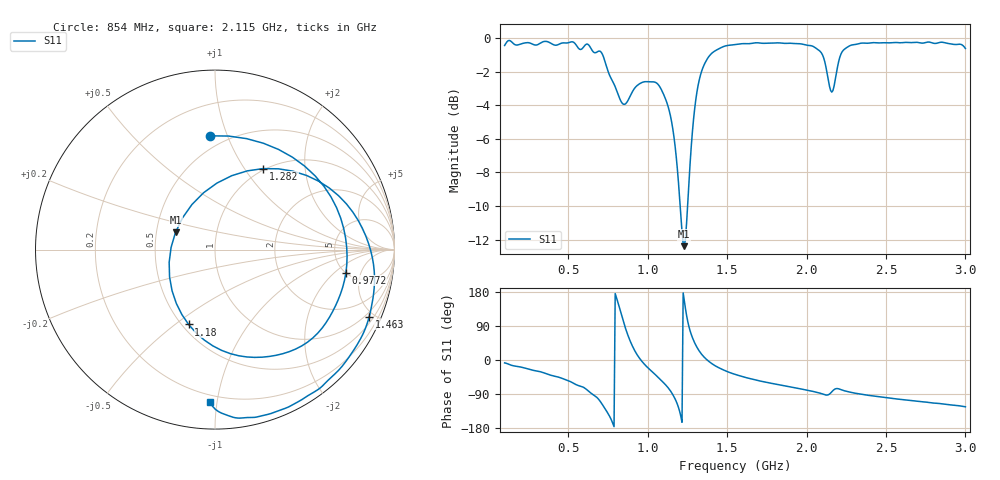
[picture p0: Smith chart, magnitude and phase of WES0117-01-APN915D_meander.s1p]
! openEMS-z2labs kicad_sim, WES0117-01-APN915D_meander.kicad_pcb
! ports: 1=SMA7 (F.Cu over B.Cu)
! stackup: file
! copper: sheet, mask: False
# Hz S RI R 50
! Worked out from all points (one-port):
!   401 points, 100 MHz to 3 GHz, reference 50 ohm
!   lowest |S11| = -12.4 dB at 1.231 GHz (marker M1), VSWR 1.63, Z = 31.5 + j6.42 ohm
!   |S11| at or under -10 dB: 1.205 GHz to 1.252 GHz (46.66 MHz wide, 3.8 % of centre)
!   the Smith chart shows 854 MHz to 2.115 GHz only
!   S11 on the Smith chart (normalised r, x): 854 MHz: 0.41, +0.87; 977.2 MHz: 5.04, -2.86; 1.18 GHz: 0.54, -0.56; 1.282 GHz: 0.98, +1.22; 1.463 GHz: 0.77, -4.69; 2.115 GHz: 0.16, -0.95
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1e8  0.9419 -0.1264
4.625e8  0.6397 -0.7248
6.0025e8  0.2758 -0.9039
7.0175e8  -0.3 -0.8626
7.38e8  -0.5617 -0.6147
7.815e8  -0.7238 -0.1575
8.0325e8  -0.6804 0.173
8.25e8  -0.4622 0.4703
8.54e8  -0.0297 0.6339
9.12e8  0.6067 0.3531
9.7725e8  0.7295 -0.128
1.09325e9  0.3771 -0.5801
1.144e9  0.0848 -0.5794
1.18025e9  -0.1469 -0.4172
1.1875e9  -0.1845 -0.3619
1.231e9  -0.2199 0.0961
1.28175e9  0.2675 0.4512
1.318e9  0.6378 0.3424
1.35425e9  0.8208 0.1193
1.463e9  0.8592 -0.3732
1.55e9  0.7549 -0.5868
1.9125e9  0.2945 -0.918
2.1155e9  -0.0282 -0.8478
2.16625e9  0.1113 -0.6888
2.2025e9  0.2055 -0.8266
2.275e9  0.084 -0.9463
2.6375e9  -0.2695 -0.9322
3e9  -0.5138 -0.7765
